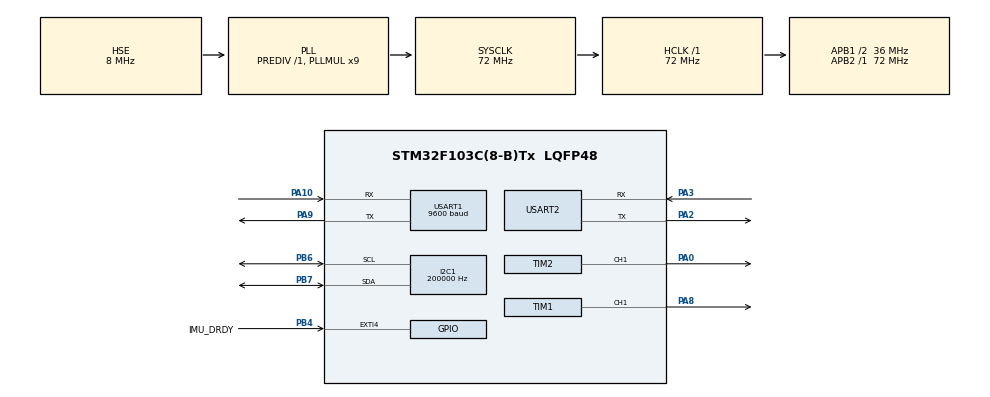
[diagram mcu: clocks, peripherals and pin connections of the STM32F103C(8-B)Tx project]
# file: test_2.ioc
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Dma.I2C1_RX.0.Direction=DMA_PERIPH_TO_MEMORY
Dma.I2C1_RX.0.Instance=DMA1_Channel7
Dma.I2C1_RX.0.MemDataAlignment=DMA_MDATAALIGN_BYTE
Dma.I2C1_RX.0.MemInc=DMA_MINC_ENABLE
Dma.I2C1_RX.0.Mode=DMA_NORMAL
Dma.I2C1_RX.0.PeriphDataAlignment=DMA_PDATAALIGN_BYTE
Dma.I2C1_RX.0.PeriphInc=DMA_PINC_DISABLE
Dma.I2C1_RX.0.Priority=DMA_PRIORITY_LOW
Dma.I2C1_TX.1.Direction=DMA_MEMORY_TO_PERIPH
Dma.I2C1_TX.1.Instance=DMA1_Channel6
Dma.I2C1_TX.1.MemDataAlignment=DMA_MDATAALIGN_BYTE
Dma.I2C1_TX.1.MemInc=DMA_MINC_ENABLE
Dma.I2C1_TX.1.Mode=DMA_NORMAL
Dma.I2C1_TX.1.PeriphDataAlignment=DMA_PDATAALIGN_BYTE
Dma.I2C1_TX.1.PeriphInc=DMA_PINC_DISABLE
Dma.I2C1_TX.1.Priority=DMA_PRIORITY_LOW
Dma.Request0=I2C1_RX
Dma.Request1=I2C1_TX
Dma.Request2=USART1_TX
Dma.USART1_TX.2.Direction=DMA_MEMORY_TO_PERIPH
Dma.USART1_TX.2.Instance=DMA1_Channel4
Dma.USART1_TX.2.MemDataAlignment=DMA_MDATAALIGN_BYTE
Dma.USART1_TX.2.MemInc=DMA_MINC_ENABLE
Dma.USART1_TX.2.Mode=DMA_NORMAL
Dma.USART1_TX.2.PeriphDataAlignment=DMA_PDATAALIGN_BYTE
Dma.USART1_TX.2.PeriphInc=DMA_PINC_DISABLE
Dma.USART1_TX.2.Priority=DMA_PRIORITY_LOW
I2C1.ClockSpeed=200000
I2C1.I2C_Mode=I2C_Fast
Mcu.Family=STM32F1
Mcu.Name=STM32F103C(8-B)Tx
Mcu.Package=LQFP48
NVIC.DMA1_Channel4_IRQn=true\:0\:0\:false\:false\:true\:false\:true\:true
NVIC.DMA1_Channel6_IRQn=true\:0\:0\:false\:false\:true\:false\:true\:true
NVIC.DMA1_Channel7_IRQn=true\:0\:0\:false\:false\:true\:false\:true\:true
NVIC.EXTI4_IRQn=true\:0\:0\:false\:false\:true\:true\:true\:true
NVIC.I2C1_ER_IRQn=true\:0\:0\:false\:false\:true\:true\:true\:true
NVIC.I2C1_EV_IRQn=true\:0\:0\:false\:false\:true\:true\:true\:true
NVIC.PriorityGroup=NVIC_PRIORITYGROUP_4
NVIC.TIM1_CC_IRQn=true\:0\:0\:false\:false\:true\:true\:true\:true
NVIC.TIM1_UP_IRQn=true\:0\:0\:false\:false\:true\:true\:true\:true
NVIC.TIM2_IRQn=true\:0\:0\:false\:false\:true\:true\:true\:true
NVIC.USART1_IRQn=true\:0\:0\:false\:false\:true\:true\:true\:true
NVIC.USART2_IRQn=true\:0\:0\:false\:false\:true\:true\:true\:true
PA0-WKUP.Signal=S_TIM2_CH1_ETR
PA10.Mode=Asynchronous
PA10.Signal=USART1_RX
PA2.Mode=Asynchronous
PA2.Signal=USART2_TX
PA3.Mode=Asynchronous
PA3.Signal=USART2_RX
PA8.Signal=S_TIM1_CH1
PA9.Mode=Asynchronous
PA9.Signal=USART1_TX
PB4.GPIO_Label=IMU_DRDY
PB4.GPIO_ModeDefaultEXTI=GPIO_MODE_IT_FALLING
PB4.GPIO_PuPd=GPIO_PULLUP
PB4.Signal=GPXTI4
PB6.Mode=I2C
PB6.Signal=I2C1_SCL
PB7.Mode=I2C
PB7.Signal=I2C1_SDA
PD0-OSC_IN.Mode=HSE-External-Oscillator
PD0-OSC_IN.Signal=RCC_OSC_IN
PD1-OSC_OUT.Mode=HSE-External-Oscillator
PD1-OSC_OUT.Signal=RCC_OSC_OUT
ProjectManager.HeapSize=0x200
ProjectManager.StackSize=0x400
ProjectManager.TargetToolchain=STM32CubeIDE
RCC.AHBFreq_Value=72000000
RCC.APB1CLKDivider=RCC_HCLK_DIV2
RCC.APB1Freq_Value=36000000
RCC.APB1TimFreq_Value=72000000
RCC.APB2Freq_Value=72000000
RCC.APB2TimFreq_Value=72000000
RCC.EnbaleCSS=true
RCC.HCLKFreq_Value=72000000
RCC.PLLMUL=RCC_PLL_MUL9
RCC.PLLSourceVirtual=RCC_PLLSOURCE_HSE
RCC.SYSCLKFreq_VALUE=72000000
RCC.SYSCLKSource=RCC_SYSCLKSOURCE_PLLCLK
RCC.USBFreq_Value=72000000
SH.S_TIM1_CH1.0=TIM1_CH1,PWM Generation1 CH1
SH.S_TIM2_CH1_ETR.0=TIM2_CH1,PWM Generation1 CH1
TIM1.AutoReloadPreload=TIM_AUTORELOAD_PRELOAD_ENABLE
TIM1.Channel-PWM\ Generation1\ CH1=TIM_CHANNEL_1
TIM1.Period=60000-1
TIM1.Prescaler=1200-1
TIM1.Pulse-PWM\ Generation1\ CH1=30000
TIM2.AutoReloadPreload=TIM_AUTORELOAD_PRELOAD_ENABLE
TIM2.Channel-PWM\ Generation1\ CH1=TIM_CHANNEL_1
TIM2.Period=999
TIM2.Prescaler=7199
TIM2.Pulse-PWM\ Generation1\ CH1=500
USART1.BaudRate=9600
USART1.VirtualMode=VM_ASYNC
USART2.VirtualMode=VM_ASYNC
VP_SYS_VS_ND.Mode=No_Debug
VP_TIM1_VS_ClockSourceINT.Mode=Internal
VP_TIM2_VS_ClockSourceINT.Mode=Internal
board=custom

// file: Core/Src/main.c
/* USER CODE BEGIN Header */
/**
  ******************************************************************************
  * @file           : main.c
  * @brief          : Main program body
  ******************************************************************************
  * @attention
  *
  * Copyright (c) 2026 STMicroelectronics.
  * All rights reserved.
  *
  * This software is licensed under terms that can be found in the LICENSE file
  * in the root directory of this software component.
  * If no LICENSE file comes with this software, it is provided AS-IS.
  *
  ******************************************************************************
  */
/* USER CODE END Header */
#include "main.h"
#include "dma.h"
#include "i2c.h"
#include "tim.h"
#include "usart.h"
#include "gpio.h"

/* USER CODE BEGIN PV */
HAL_StatusTypeDef uart_status;
volatile HAL_StatusTypeDef uart_status_from_IT;
/* USER CODE END PV */

void SystemClock_Config(void);

/* USER CODE BEGIN 0 */
#include <stdio.h>
#include <string.h>
#include "IMU.h"

#define IMU_DATA_RAW_SIZE (14 + 4 + 2)

char gps_msg[128]; // Zväčšené pre istotu
int sec = 0;
int min = 15;
int hod = 12;

uint8_t Get_NMEA_Checksum(char *s) {
    uint8_t check = 0;
    for (int i = 1; s[i] != '*' && s[i] != '\0'; i++) {
        check ^= s[i];
    }
    return check;
}

volatile uint8_t gprmc_flag = 0;
volatile uint16_t sec_total = 0; // 18 hours operational time max :p
volatile uint8_t imu_drdy_flag = 0;
volatile uint8_t imu_dma_busy_flag = 0;
c6dofimu24_data_t imu_data;
volatile uint8_t imu_data_raw[IMU_DATA_RAW_SIZE]; // 14 for IMU data, 1 stop bit
uint8_t uart_debug_msg[100];
/* USER CODE END 0 */

int main(void)
{

  /* MCU Configuration--------------------------------------------------------*/

  /* Reset of all peripherals, Initializes the Flash interface and the Systick. */
  HAL_Init();

  /* Configure the system clock */
  SystemClock_Config();

  /* Initialize all configured peripherals */
  MX_GPIO_Init();
  MX_DMA_Init();
  MX_TIM1_Init();
  MX_USART1_UART_Init();
  MX_TIM2_Init();
  MX_USART2_UART_Init();
  MX_I2C1_Init();
  /* USER CODE BEGIN 2 */
  HAL_Delay(500);

  HAL_TIM_PWM_Start_IT(&htim1, TIM_CHANNEL_1);   // CC1 interrupt
  HAL_TIM_Base_Start_IT(&htim1);                 // overflow interrupt

  HAL_TIM_PWM_Start(&htim2, TIM_CHANNEL_1);
  HAL_StatusTypeDef status = c6dofimu24_default_cfg();
  HAL_Delay(100);
  status = c6dofimu24_clear_data_ready();
  /* USER CODE END 2 */

  /* Infinite loop */
  /* USER CODE BEGIN WHILE */
  while (1)
  {
	// uint32_t timer_val = __HAL_TIM_GET_COUNTER(&htim1);

	// PPS je HIGH od 0 do 30000. Padá pri 5000 (500ms).
	// Čakáme, kým timer dosiahne 5050 (teda 505ms - tesne po páde na 0).
	if (gprmc_flag)
	{
		// Ochrana, aby sa neposlalo viackrát
		gprmc_flag = 0;

		// 2. Formátovanie GPRMC správy
		// Hesai vyžaduje platný dátum, tu je fixne 090326 (9. Marec 2026)
		sprintf(gps_msg, "$GPRMC,%02d%02d%02d,A,4808.0000,N,01706.0000,E,0.0,0.0,090323,,,A*", hod, min, sec);

		// 3. Pridanie Checksumu
		uint8_t crc = Get_NMEA_Checksum(gps_msg);
		char crc_str[10];
		sprintf(crc_str, "%02X\r\n", crc);
		strcat(gps_msg, crc_str);

		// 4. Odoslanie cez UART1 (PA9)
		// Správa sa začne posielať v 505ms a skončí cca v 580ms.
//		uart_status = HAL_UART_Transmit(&huart1, (uint8_t*)gps_msg, strlen(gps_msg), 100);
		uart_status = HAL_UART_Transmit_DMA(&huart1, (uint8_t*)gps_msg, strlen(gps_msg));

		//c6dofimu24_clear_data_ready();
	}

	if(imu_drdy_flag && !imu_dma_busy_flag)
	{
		imu_drdy_flag = 0;
		imu_dma_busy_flag = 1;
	    HAL_StatusTypeDef status = HAL_I2C_Mem_Read_IT(
	                                &hi2c1,
	                                C6DOFIMU24_DEVICE_ADDRESS,
	                                C6DOFIMU24_REG0_TEMP_DATA1,
	                                1,
									imu_data_raw,
	                                14);
	}

    /* USER CODE END WHILE */

  }
}

void SystemClock_Config(void)
{
  RCC_OscInitTypeDef RCC_OscInitStruct = {0};
  RCC_ClkInitTypeDef RCC_ClkInitStruct = {0};

  /** Initializes the RCC Oscillators according to the specified parameters
  * in the RCC_OscInitTypeDef structure.
  */
  RCC_OscInitStruct.OscillatorType = RCC_OSCILLATORTYPE_HSE;
  RCC_OscInitStruct.HSEState = RCC_HSE_ON;
  RCC_OscInitStruct.HSEPredivValue = RCC_HSE_PREDIV_DIV1;
  RCC_OscInitStruct.HSIState = RCC_HSI_ON;
  RCC_OscInitStruct.PLL.PLLState = RCC_PLL_ON;
  RCC_OscInitStruct.PLL.PLLSource = RCC_PLLSOURCE_HSE;
  RCC_OscInitStruct.PLL.PLLMUL = RCC_PLL_MUL9;
  if (HAL_RCC_OscConfig(&RCC_OscInitStruct) != HAL_OK)
  {
    Error_Handler();
  }

  /** Initializes the CPU, AHB and APB buses clocks
  */
  RCC_ClkInitStruct.ClockType = RCC_CLOCKTYPE_HCLK|RCC_CLOCKTYPE_SYSCLK
                              |RCC_CLOCKTYPE_PCLK1|RCC_CLOCKTYPE_PCLK2;
  RCC_ClkInitStruct.SYSCLKSource = RCC_SYSCLKSOURCE_PLLCLK;
  RCC_ClkInitStruct.AHBCLKDivider = RCC_SYSCLK_DIV1;
  RCC_ClkInitStruct.APB1CLKDivider = RCC_HCLK_DIV2;
  RCC_ClkInitStruct.APB2CLKDivider = RCC_HCLK_DIV1;

  if (HAL_RCC_ClockConfig(&RCC_ClkInitStruct, FLASH_LATENCY_2) != HAL_OK)
  {
    Error_Handler();
  }

  /** Enables the Clock Security System
  */
  HAL_RCC_EnableCSS();
}

/* USER CODE BEGIN 4 */
void HAL_GPIO_EXTI_Callback(uint16_t GPIO_Pin)
{
	if(GPIO_Pin == IMU_DRDY_Pin)
	{
		uint16_t ticks = __HAL_TIM_GET_COUNTER(&htim1);

		uint16_t *major_ptr = (uint16_t*)(&imu_data_raw[14]);
		uint16_t *minor_ptr = (uint16_t*)(&imu_data_raw[16]);

		*major_ptr = sec_total;
		*minor_ptr = ticks;

		imu_data_raw[18] = '\n';
		imu_data_raw[19] = '\0';
		imu_drdy_flag = 1;
	}
}
void HAL_I2C_ErrorCallback(I2C_HandleTypeDef *hi2c)
{
    sprintf(uart_debug_msg, "Callback: HAL_I2C_ErrorCallback\r\n");
	uart_status = HAL_UART_Transmit(&huart2, (uint8_t*)uart_debug_msg, strlen(uart_debug_msg), 100);
}

void HAL_I2C_MasterRxCpltCallback(I2C_HandleTypeDef *hi2c)
{
	sprintf(uart_debug_msg, "Callback: HAL_I2C_MasterRxCpltCallback\r\n");
	uart_status = HAL_UART_Transmit(&huart2, (uint8_t*)uart_debug_msg, strlen(uart_debug_msg), 100);
}

void HAL_I2C_MasterTxCpltCallback(I2C_HandleTypeDef *hi2c)
{
	sprintf(uart_debug_msg, "Callback: HAL_I2C_MasterTxCpltCallback\r\n");
	uart_status = HAL_UART_Transmit(&huart2, (uint8_t*)uart_debug_msg, strlen(uart_debug_msg), 100);
}

void HAL_I2C_MemTxCpltCallback(I2C_HandleTypeDef *hi2c)
{
	sprintf(uart_debug_msg, "Callback: HAL_I2C_MemTxCpltCallback\r\n");
	uart_status = HAL_UART_Transmit(&huart2, (uint8_t*)uart_debug_msg, strlen(uart_debug_msg), 100);
}

void HAL_I2C_SlaveRxCpltCallback(I2C_HandleTypeDef *hi2c)
{
	sprintf(uart_debug_msg, "Callback: HAL_I2C_SlaveRxCpltCallback\r\n");
	uart_status = HAL_UART_Transmit(&huart2, (uint8_t*)uart_debug_msg, strlen(uart_debug_msg), 100);
}

void HAL_I2C_SlaveTxCpltCallback(I2C_HandleTypeDef *hi2c)
{
	sprintf(uart_debug_msg, "Callback: HAL_I2C_SlaveTxCpltCallback\r\n");
	uart_status = HAL_UART_Transmit(&huart2, (uint8_t*)uart_debug_msg, strlen(uart_debug_msg), 100);
}

void HAL_I2C_AbortCpltCallback(I2C_HandleTypeDef *hi2c)
{
	sprintf(uart_debug_msg, "Callback: HAL_I2C_AbortCpltCallback\r\n");
	uart_status = HAL_UART_Transmit(&huart2, (uint8_t*)uart_debug_msg, strlen(uart_debug_msg), 100);
}

void HAL_I2C_AddrCallback(I2C_HandleTypeDef *hi2c, uint8_t TransferDirection, uint16_t AddrMatchCode)
{
	sprintf(uart_debug_msg, "Callback: HAL_I2C_AddrCallback\r\n");
	uart_status = HAL_UART_Transmit(&huart2, (uint8_t*)uart_debug_msg, strlen(uart_debug_msg), 100);
}

void HAL_TIM_PWM_PulseFinishedCallback(TIM_HandleTypeDef *htim)
{
    if (htim->Instance == TIM1 &&
        htim->Channel == HAL_TIM_ACTIVE_CHANNEL_1)
    {
        // PWM switched LOW here - flag to send GPRMC
        //imu_drdy_flag = 1;   // example action
    	gprmc_flag = 1;
    }
}

void HAL_TIM_PeriodElapsedCallback(TIM_HandleTypeDef *htim)
{
    if (htim->Instance == TIM1)
    {
        ++sec_total;

        if (++sec >= 60)
        {
            sec = 0;
            if (++min >= 60)
            {
                min = 0;
                ++hod;
            }
        }
    }
}

void HAL_I2C_MemRxCpltCallback(I2C_HandleTypeDef *hi2c)
{
	uart_status_from_IT = HAL_UART_Transmit_IT(&huart2, (uint8_t*)imu_data_raw, IMU_DATA_RAW_SIZE);
	c6dofimu24_clear_data_ready();
	imu_dma_busy_flag = 0;
}

/* USER CODE END 4 */

void Error_Handler(void)
{
  __disable_irq();
  while (1)
  {
  }
}
